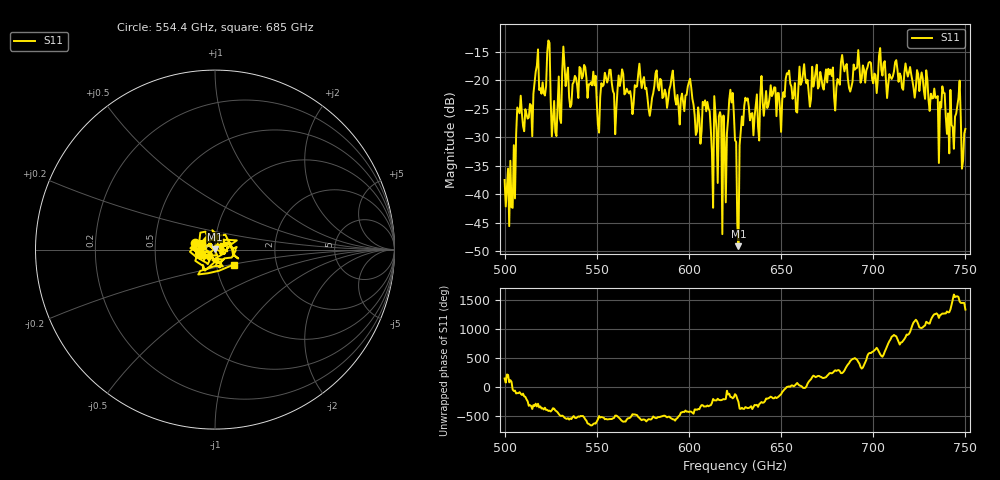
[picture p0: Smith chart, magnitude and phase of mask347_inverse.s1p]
!Created with skrf (http://scikit-rf.org).
# GHz S MA R 50.0
!freq magS11 angS11
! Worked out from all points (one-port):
!   401 points, 500 GHz to 750 GHz, reference 50 ohm
!   lowest |S11| = -49.1 dB at 626.9 GHz (marker M1), VSWR 1.01, Z = 49.9 + j0.343 ohm
!   |S11| at or under -10 dB: start of sweep to end of sweep
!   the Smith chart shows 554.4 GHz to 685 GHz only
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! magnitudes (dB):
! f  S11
! 500 GHz  -37.5
! 503.1 GHz  -34.1
! 507.5 GHz  -25.3
! 513.8 GHz  -24.1
! 516.9 GHz  -18.5
! 521.2 GHz  -22.3
! 523.8 GHz  -13.0
! 526.9 GHz  -23.6
! 531.2 GHz  -18.5
! 542.5 GHz  -19.2
! 551.2 GHz  -29.2
! 562.5 GHz  -21.0
! 593.8 GHz  -22.6
! 610 GHz  -23.8
! 611.9 GHz  -28.6
! 615 GHz  -28.7
! 619.4 GHz  -30.8
! 623.1 GHz  -23.9
! 625 GHz  -30.5
! 626.9 GHz  -49.1
! 631.2 GHz  -23.5
! 656.2 GHz  -23.2
! 683.8 GHz  -17.2
! 687.5 GHz  -22.0
! 718.8 GHz  -19.3
! 742.5 GHz  -27.8
! 746.2 GHz  -23.1
! 750 GHz  -28.5
